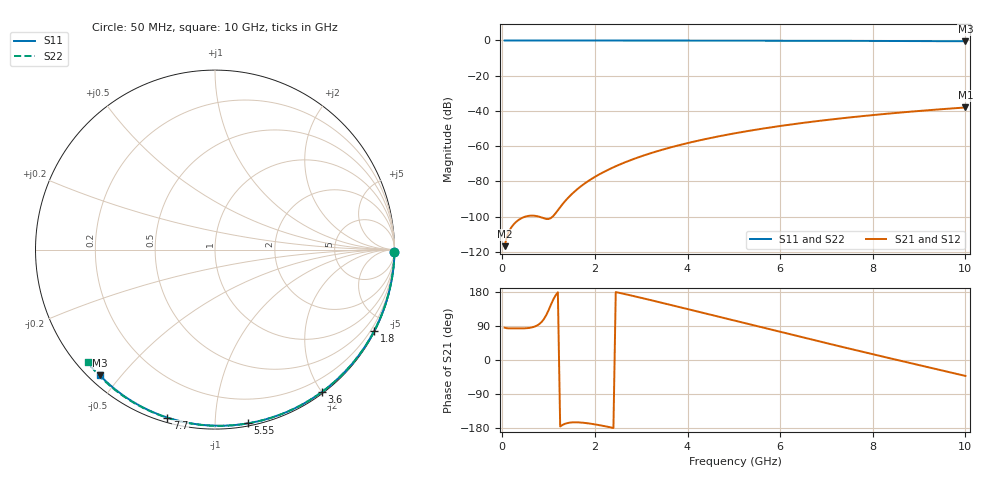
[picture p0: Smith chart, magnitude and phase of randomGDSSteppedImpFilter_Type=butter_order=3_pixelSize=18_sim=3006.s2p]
! freq	dB(S11)	phase(S11)	dB(S12)	phase(S12)
!  dB(S21)	phase(S21)	dB(S22)	phase(S22)
!S-par simulation data
#  GHz  S  DB  R 50
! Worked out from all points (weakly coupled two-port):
!   200 points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, 50 MHz to 10 GHz, reference 50 ohm
!   highest |S21| = -38.06 dB at 10 GHz (marker M1); lowest = -116.9 dB at 50 MHz (marker M2)
!   lowest |S11| = -0.4 dB at 10 GHz (marker M3), VSWR 38.76, Z = 1.54 - j22 ohm
!   |S11| at or under -10 dB: nowhere
!   |S22| runs from -0.5 to 0.0 dB; largest |S21 - S12| = 0
!   S11 on the Smith chart (normalised r, x): 50 MHz: open; 1.8 GHz: 0.04, -4.14; 3.6 GHz: 0.02, -2.00; 5.55 GHz: 0.02, -1.21; 7.7 GHz: 0.02, -0.76; 10 GHz: 0.03, -0.44
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0.05  -0.00 -0.8  -116.85 85.3  -116.85 85.3  -0.00 -0.8
0.45  -0.01 -6.9  -100.52 83.4  -100.52 83.4  -0.01 -7.2
0.9  -0.02 -13.7  -101.06 108.2  -101.06 108.2  -0.02 -14.3
1.75  -0.03 -26.4  -81.80 -165.6  -81.80 -165.6  -0.04 -27.6
1.8  -0.03 -27.2  -80.85 -166.3  -80.85 -166.3  -0.04 -28.4
1.85  -0.04 -27.9  -79.96 -167.1  -79.96 -167.1  -0.04 -29.2
2  -0.04 -30.1  -77.49 -169.9  -77.49 -169.9  -0.04 -31.5
2.15  -0.04 -32.3  -75.27 -173.2  -75.27 -173.2  -0.04 -33.8
2.35  -0.05 -35.2  -72.64 -178.1  -72.64 -178.1  -0.05 -36.8
2.55  -0.05 -38.2  -70.30 176.6  -70.30 176.6  -0.05 -39.9
2.95  -0.06 -43.9  -66.26 165.5  -66.26 165.5  -0.06 -45.9
3.4  -0.07 -50.3  -62.48 152.3  -62.48 152.3  -0.07 -52.5
3.6  -0.07 -53.1  -60.99 146.4  -60.99 146.4  -0.07 -55.5
4.3  -0.09 -62.7  -56.50 125.4  -56.50 125.4  -0.09 -65.5
5.05  -0.11 -72.8  -52.60 102.7  -52.60 102.7  -0.12 -76.0
5.55  -0.13 -79.3  -50.38 87.7  -50.38 87.7  -0.14 -82.7
6.1  -0.15 -86.3  -48.22 71.2  -48.22 71.2  -0.16 -90.0
6.7  -0.18 -93.8  -46.13 53.4  -46.13 53.4  -0.19 -97.8
7.7  -0.24 -105.9  -43.17 24.0  -43.17 24.0  -0.25 -110.5
8.35  -0.29 -113.5  -41.52 5.1  -41.52 5.1  -0.30 -118.5
9.2  -0.36 -123.3  -39.62 -19.2  -39.62 -19.2  -0.38 -128.8
10  -0.45 -132.5  -38.06 -42.0  -38.06 -42.0  -0.47 -138.4
